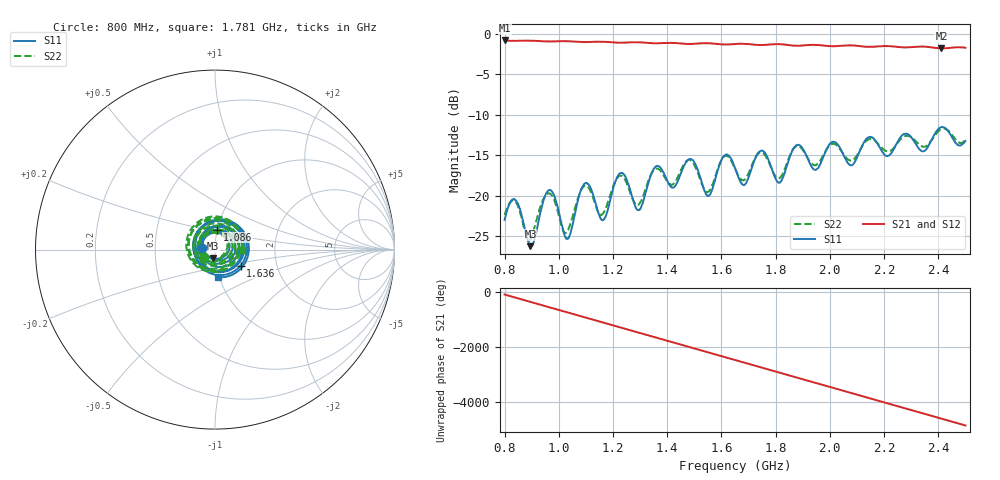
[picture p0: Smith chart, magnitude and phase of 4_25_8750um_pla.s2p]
!Keysight Technologies N9950B: A.12.38
!Date: Tuesday, 25 April 2023 12:33:49
!Timezone: (UTC-06:00) Central Time (US & Canada)
!Model: N9950B
!Serial: MY61131330
!GPS Latitude:
!GPS Longitude:
!GPS TimeStamp: 0001-01-01 00:00:00Z
!GPS Seconds Since Last Read: 0
!CHECKSUM:1835827977
!Correction: S11(Rdy)S21(Rdy)S12(Rdy)S22(Rdy)
!S2P File: Measurements:S11,S21,S12,S22:
# Hz S DB R 50
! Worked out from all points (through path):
!   1001 points, 800 MHz to 2.5 GHz, reference 50 ohm
!   highest |S21| = -0.82 dB at 800 MHz (marker M1); lowest = -1.8 dB at 2.412 GHz (marker M2)
!   group delay of S21, straight-line fit = 7.78 ns
!   lowest |S11| = -26.3 dB at 895.2 MHz (marker M3), VSWR 1.10, Z = 48.8 - j4.66 ohm
!   |S11| at or under -10 dB: start of sweep to end of sweep
!   |S22| runs from -25.6 to -11.7 dB; largest |S21 - S12| = 0.0059
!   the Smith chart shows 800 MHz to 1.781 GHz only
!   S11 on the Smith chart (normalised r, x): 800 MHz: 0.87, +0.01; 1.086 GHz: 1.00, +0.23; 1.636 GHz: 1.31, -0.24; 1.781 GHz: 0.98, -0.31
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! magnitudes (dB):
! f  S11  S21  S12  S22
! 800 MHz  -23.0  -0.8  -0.8  -22.4
! 840.8 MHz  -20.6  -0.9  -0.9  -20.8
! 895.2 MHz  -26.3  -0.9  -0.9  -25.4
! 959.8 MHz  -19.4  -0.9  -0.9  -19.8
! 1.031 GHz  -25.4  -0.9  -0.9  -24.5
! 1.084 GHz  -19.1  -1.0  -1.0  -19.2
! 1.086 GHz  -19.0  -1.0  -1.0  -19.1
! 1.164 GHz  -23.0  -1.0  -1.0  -22.2
! 1.234 GHz  -17.2  -1.1  -1.1  -17.6
! 1.295 GHz  -21.8  -1.0  -1.1  -21.1
! 1.368 GHz  -16.4  -1.2  -1.2  -16.7
! 1.422 GHz  -19.0  -1.1  -1.1  -18.5
! 1.49 GHz  -15.5  -1.3  -1.3  -15.7
! 1.551 GHz  -20.0  -1.2  -1.2  -19.5
! 1.636 GHz  -15.5  -1.3  -1.3  -15.7
! 1.65 GHz  -16.6  -1.3  -1.3  -16.7
! 1.781 GHz  -16.2  -1.3  -1.3  -16.4
! 1.934 GHz  -16.5  -1.4  -1.4  -16.1
! 2.012 GHz  -13.3  -1.5  -1.5  -13.6
! 2.218 GHz  -15.0  -1.5  -1.5  -14.5
! 2.412 GHz  -11.5  -1.8  -1.8  -11.8
! 2.5 GHz  -13.2  -1.7  -1.7  -13.1
